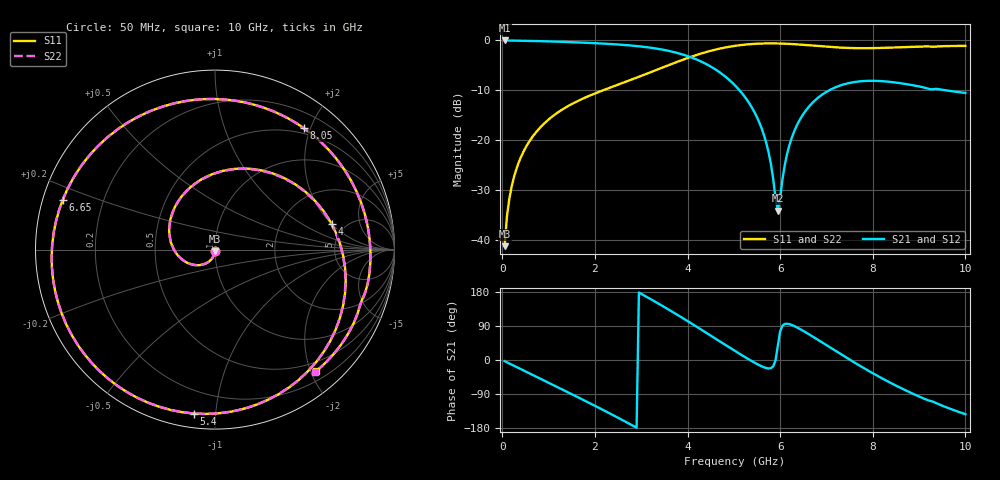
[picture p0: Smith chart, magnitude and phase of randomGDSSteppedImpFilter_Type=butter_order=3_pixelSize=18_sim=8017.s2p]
! freq	dB(S11)	phase(S11)	dB(S12)	phase(S12)
!  dB(S21)	phase(S21)	dB(S22)	phase(S22)
!S-par simulation data
#  GHz  S  DB  R 50
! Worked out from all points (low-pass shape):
!   200 points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, 50 MHz to 10 GHz, reference 50 ohm
!   highest |S21| = -0.01 dB at 50 MHz (marker M1); lowest = -34.1 dB at 5.95 GHz (marker M2)
!   |S21| within 3 dB of the highest: start of sweep to 3.96 GHz
!   lowest |S11| = -41.2 dB at 50 MHz (marker M3), VSWR 1.02, Z = 50 - j0.873 ohm
!   |S11| at or under -10 dB: start of sweep to 2.169 GHz
!   |S22| runs from -41.2 to -0.6 dB; largest |S21 - S12| = 0
!   S11 on the Smith chart (normalised r, x): 50 MHz: 1.00, -0.02; 4 GHz: 3.93, +1.99; 5.4 GHz: 0.07, -0.88; 6.65 GHz: 0.06, +0.16; 8.05 GHz: 0.41, +1.89; 10 GHz: 0.34, -2.09
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0.05  -41.17 -91.5  -0.01 -3.1  -0.01 -3.1  -41.18 -91.5
0.1  -35.27 -95.1  -0.01 -6.1  -0.01 -6.1  -35.27 -95.1
0.2  -29.33 -101.8  -0.03 -12.1  -0.03 -12.1  -29.33 -101.8
0.5  -21.51 -120.4  -0.07 -30.1  -0.07 -30.1  -21.51 -120.6
1.15  -14.73 -159.7  -0.23 -69.1  -0.23 -69.1  -14.73 -160.1
1.75  -11.60 163.9  -0.44 -105.4  -0.44 -105.4  -11.60 163.3
2.65  -8.33 107.2  -0.92 -162.1  -0.92 -162.1  -8.33 106.5
3.4  -5.65 56.2  -1.74 146.9  -1.74 146.9  -5.65 55.5
4  -3.53 12.2  -3.13 102.8  -3.13 102.8  -3.53 11.6
4.55  -1.96 -30.3  -5.50 60.6  -5.50 60.6  -1.96 -30.9
5.05  -1.05 -69.7  -9.23 22.0  -9.23 22.0  -1.05 -70.3
5.4  -0.71 -97.4  -13.60 -3.8  -13.60 -3.8  -0.71 -98.0
5.7  -0.60 -121.3  -20.50 -21.2  -20.50 -21.2  -0.60 -121.9
5.95  -0.61 -141.3  -34.08 37.8  -34.08 37.8  -0.61 -142.0
6.2  -0.70 -161.4  -20.95 94.6  -20.95 94.6  -0.70 -162.2
6.65  -0.99 162.0  -12.95 65.8  -12.95 65.8  -0.99 161.0
6.7  -1.03 157.9  -12.46 62.0  -12.46 62.0  -1.03 156.9
7.35  -1.45 105.7  -8.86 12.3  -8.86 12.3  -1.46 104.4
8.05  -1.53 54.0  -8.09 -38.4  -8.09 -38.4  -1.53 52.6
8.35  -1.45 34.0  -8.27 -58.1  -8.27 -58.1  -1.45 32.7
9.05  -1.22 -6.8  -9.30 -99.1  -9.30 -99.1  -1.21 -7.9
10  -1.10 -50.2  -10.50 -143.1  -10.50 -143.1  -1.10 -51.0
